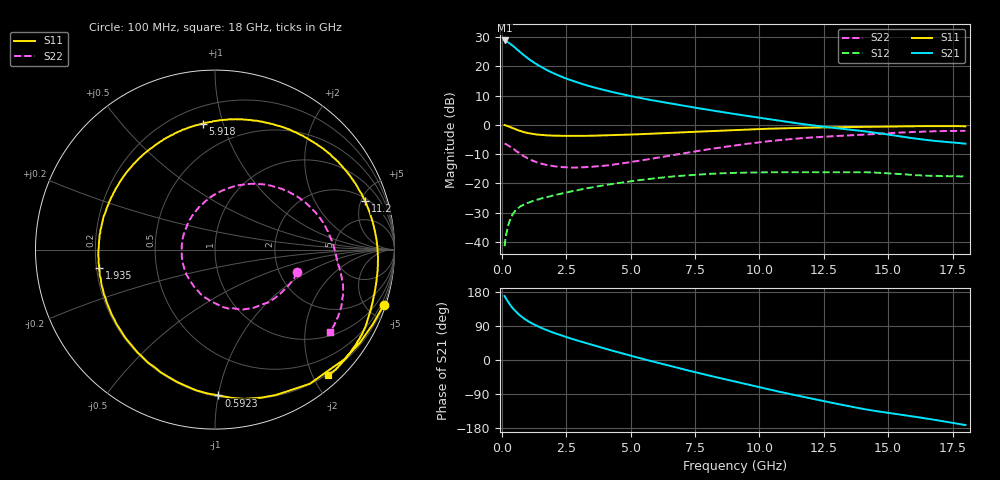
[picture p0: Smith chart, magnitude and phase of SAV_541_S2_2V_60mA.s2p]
! Data provided by Modelithics, Inc.  Tampa, Florida USA, June 2008
!Model SAV-541+
!VAR V_out= 2
!VAR I_out= 60
!VAR V_in= 0.4830
!VAR I_in= 1.0325
!BEGIN ACDATA
# GHZ S MA R 50
! Scattering Parameters
!% F n11x n11y n21x n21y n12x n12y n22x n22y
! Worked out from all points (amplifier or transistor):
!   401 points, 100 MHz to 18 GHz, reference 50 ohm
!   highest |S21| = 28.8 dB at 100 MHz (marker M1)
!   |S21| within 3 dB of that: start of sweep to 572.1 MHz
!   unconditionally stable (mu >= 1): 3.828 GHz to 10.97 GHz; 10.98 GHz to 11.13 GHz
!   at 3.054 GHz: K = 0.93, MSG = 18.1 dB, |S12| = -22.1 dB
!   at 9.05 GHz: K = 1.04, MAG = 8.8 dB, |S12| = -16.4 dB
!   at 18 GHz: K = 0.94, MSG = 5.6 dB, |S12| = -17.7 dB
!   lowest NFmin = 0.10 dB at 500 MHz
!   S11 on the Smith chart (normalised r, x): 100 MHz: 0.20, -6.29; 592.2 MHz: 0.21, -1.00; 1.935 GHz: 0.21, -0.08; 5.918 GHz: 0.31, +0.86; 11.2 GHz: 2.29, +5.41; 18 GHz: 0.18, -2.23
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0.1  0.9901 -18.1  27.68 168.8  0.0084 81.9  0.4735 -15.6
0.1895  0.9597 -32.8  26.25 158.5  0.01519 73.2  0.4555 -26.2
0.279  0.9237 -46.8  24.88 149.0  0.02166 68.2  0.4304 -38.5
0.3685  0.8914 -61.0  23.36 140.6  0.02679 61.4  0.4019 -49.6
0.458  0.8646 -72.5  21.65 133.5  0.03136 56.1  0.382 -59.0
0.59225  0.8129 -88.6  19.23 123.9  0.03642 50.5  0.3427 -72.4
0.7265  0.7765 -102.2  17.13 115.9  0.04068 46.3  0.316 -84.4
0.86075  0.7476 -113.8  15.33 109.0  0.04324 41.3  0.2887 -94.7
1.12925  0.7042 -132.7  12.51 97.8  0.04845 37.7  0.25 -112.0
1.48725  0.673 -152.2  9.944 85.9  0.05445 34.0  0.2189 -131.0
1.93475  0.6543 -170.9  7.847 73.6  0.06119 30.1  0.1983 -151.0
2.47175  0.646 171.6  6.231 61.1  0.06902 26.4  0.1873 -171.2
3.09825  0.6459 154.3  5.009 47.9  0.07843 21.6  0.1872 169.0
4.35125  0.6642 125.7  3.577 23.4  0.09839 10.6  0.2099 136.1
5.9175  0.7055 95.5  2.584 -5.1  0.1214 -6.0  0.2674 103.7
6.0965  0.7117 92.4  2.504 -8.2  0.1241 -8.0  0.2764 100.8
7.439  0.7575 70.4  1.981 -31.1  0.1388 -23.6  0.3471 78.6
9.05  0.8127 46.8  1.524 -57.0  0.1507 -42.6  0.4436 55.2
11.198  0.8784 17.9  1.101 -89.9  0.1545 -67.9  0.5684 27.4
12.04825  0.8943 7.6  0.9813 -102.1  0.1542 -77.6  0.6074 17.5
15.0465  0.9325 -23.3  0.6764 -140.0  0.1474 -107.6  0.7183 -11.6
18  0.9422 -48.0  0.4754 -171.7  0.1305 -131.9  0.7872 -35.8
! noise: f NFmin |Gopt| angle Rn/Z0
0.5  0.095  0.2936  24.69  0.058
0.7  0.133  0.3015  36.93  0.051
0.9  0.17  0.3094  48.89  0.045
1  0.189  0.3133  54.77  0.042
1.9  0.359  0.3495  104.6  0.028
2.4  0.453  0.37  129.9  0.028
3  0.566  0.3951  158.1  0.034
3.9  0.736  0.4333  -164.3  0.059
5  0.943  0.4814  -125.8  0.114
6  1.132  0.5264  -97.92  0.187
